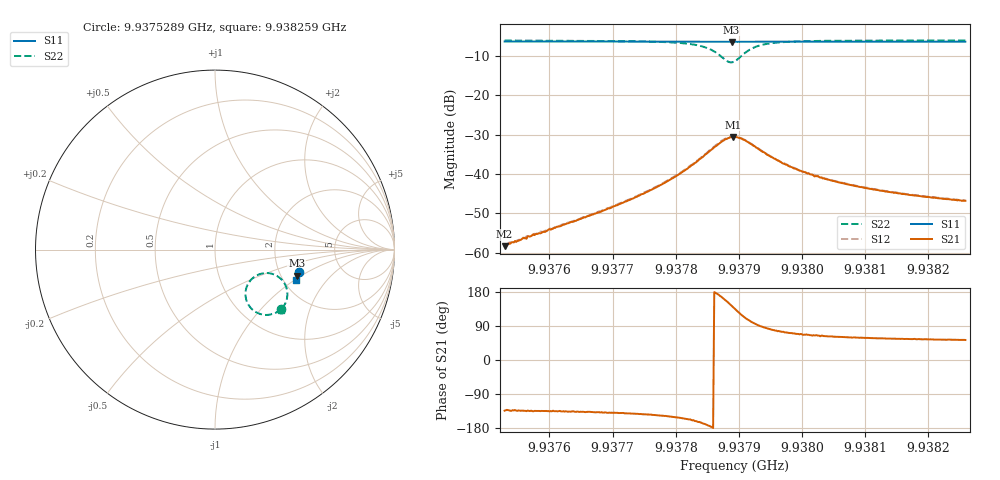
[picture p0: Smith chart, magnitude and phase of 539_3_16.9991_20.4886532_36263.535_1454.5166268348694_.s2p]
#  HZ  S  RI  R  50.00
! Rohde & Schwarz Vector Network Analyzer
! Rohde-Schwarz,ZNB20-2Port,1311601062101988,3.16
! Created: UTC 3/20/2024, 11:16:14 PM
! freq[Hz]  re:S11  im:S11  re:S21  im:S21  re:S12  im:S12  re:S22  im:S22
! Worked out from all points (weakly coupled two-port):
!   401 points, 9.9375289 GHz to 9.938259 GHz, reference 50 ohm
!   highest |S21| = -30.58 dB at 9.9378903 GHz (marker M1); lowest = -58.3 dB at 9.9375289 GHz (marker M2)
!   lowest |S11| = -6.4 dB at 9.9378885 GHz (marker M3), VSWR 2.83, Z = 121 - j45.6 ohm
!   |S11| at or under -10 dB: nowhere
!   |S22| runs from -11.6 to -6.1 dB; largest |S21 - S12| = 0.0012
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9.93752895e9  0.4666 -0.1235  -0.000837 -0.000878  -0.00089 -0.000913  0.3685 -0.3323
9.93755815e9  0.466 -0.1253  -0.00106 -0.00111  -0.0011 -0.0011  0.3652 -0.335
9.93765123e9  0.4638 -0.1317  -0.002 -0.00187  -0.00205 -0.00187  0.3521 -0.3444
9.9377297e9  0.4616 -0.1368  -0.00376 -0.00299  -0.00384 -0.003  0.3327 -0.3545
9.93777351e9  0.4604 -0.1399  -0.00587 -0.00395  -0.00603 -0.00389  0.3123 -0.3611
9.93781548e9  0.4589 -0.1429  -0.0102 -0.00478  -0.0105 -0.00469  0.2747 -0.3636
9.93784833e9  0.4571 -0.145  -0.0177 -0.00298  -0.018 -0.00276  0.216 -0.3401
9.93786111e9  0.4564 -0.1456  -0.0219 0.0003  -0.0224 0.000774  0.1868 -0.3082
9.93787206e9  0.4554 -0.1456  -0.0249 0.00567  -0.0254 0.00655  0.1705 -0.2602
9.93788119e9  0.4551 -0.1455  -0.0252 0.0121  -0.0256 0.0133  0.1765 -0.2081
9.93788849e9  0.455 -0.1452  -0.0234 0.0177  -0.0232 0.0186  0.2006 -0.1684
9.93789031e9  0.4551 -0.1453  -0.0226 0.019  -0.0224 0.02  0.2093 -0.1599
9.93789396e9  0.4551 -0.145  -0.0206 0.0211  -0.0203 0.022  0.2284 -0.1459
9.93790309e9  0.4555 -0.1451  -0.0144 0.0245  -0.0139 0.0251  0.2823 -0.1307
9.93791586e9  0.4562 -0.1458  -0.00659 0.0242  -0.00575 0.0246  0.3441 -0.1457
9.93793594e9  0.4567 -0.1474  0.000436 0.0196  0.00108 0.0198  0.3902 -0.1935
9.93797609e9  0.4562 -0.1508  0.00393 0.0125  0.00425 0.0125  0.4032 -0.2564
9.93801624e9  0.4551 -0.1539  0.00427 0.00885  0.00447 0.00881  0.3971 -0.2859
9.93807647e9  0.4538 -0.1581  0.00365 0.0063  0.00385 0.00632  0.3871 -0.3084
9.93813852e9  0.4521 -0.1621  0.00325 0.00494  0.00341 0.00492  0.3787 -0.3209
9.93819327e9  0.4505 -0.1656  0.00298 0.00422  0.0031 0.00424  0.3729 -0.3288
9.93825898e9  0.4487 -0.1699  0.00277 0.00364  0.00283 0.00363  0.367 -0.3358
